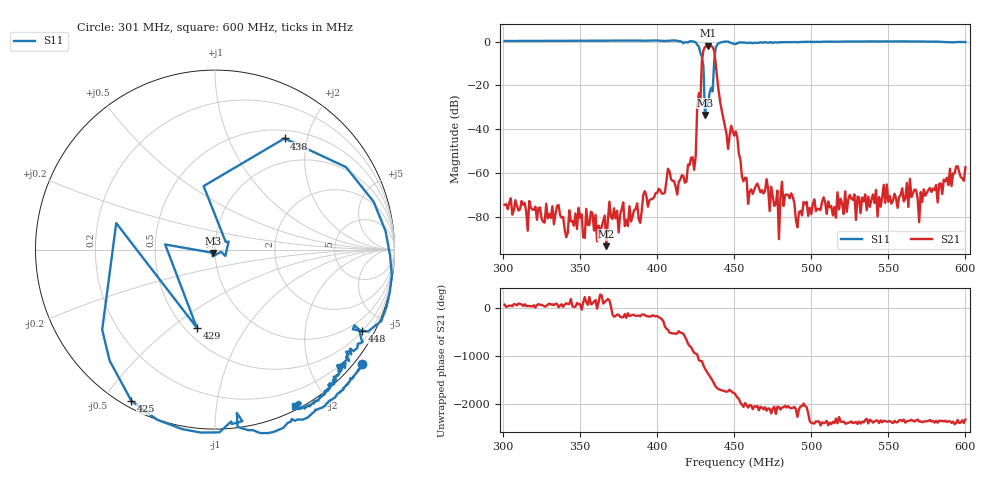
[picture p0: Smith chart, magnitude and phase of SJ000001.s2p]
!File created by NanoVNA-F V2
# Hz S RI R 50
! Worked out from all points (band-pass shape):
!   300 points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, 301 MHz to 600 MHz, reference 50 ohm
!   highest |S21| = -1.81 dB at 433 MHz (marker M1); lowest = -93.5 dB at 367 MHz (marker M2)
!   |S21| within 3 dB of the highest: 429.8 MHz to 437.1 MHz (7.278 MHz wide, 1.68 % of centre)
!   lowest |S11| = -33.5 dB at 431 MHz (marker M3), VSWR 1.04, Z = 48.9 - j1.8 ohm
!   |S11| at or under -10 dB: 429.7 MHz to 436.9 MHz (7.184 MHz wide, 1.66 % of centre)
!   S12 and S22 are empty: the file has one direction only
!   S11 on the Smith chart (normalised r, x): 301 MHz: -0.17, -2.91; 425 MHz: 0.03, -0.59; 429 MHz: 0.57, -0.62; 438 MHz: 0.61, +1.63; 448 MHz: 0.52, -3.82; 600 MHz: 0.04, -1.63
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3.01e8  0.8194 -0.6362  4.8e-05 0.000181  0 0  0 0
3.51e8  0.7245 -0.7622  9.8e-05 -5.6e-05  0 0  0 0
3.67e8  0.6792 -0.8066  -2e-05 7e-06  0 0  0 0
4.01e8  0.4664 -0.9468  -0.000434 3.3e-05  0 0  0 0
4.25e8  -0.4658 -0.8431  -0.00162 0.00179  0 0  0 0
4.26e8  -0.5869 -0.6191  -0.014 0.0301  0 0  0 0
4.28e8  -0.5503 0.1476  0.0354 -0.0128  0 0  0 0
4.29e8  -0.101 -0.4357  0.3362 -0.1281  0 0  0 0
4.31e8  -0.0106 -0.0184  -0.7617 -0.00794  0 0  0 0
4.33e8  0.0341 -0.0125  0.2062 0.7854  0 0  0 0
4.36e8  0.0598 0.0424  0.2329 -0.7191  0 0  0 0
4.38e8  0.3873 0.6196  -0.2999 0.0854  0 0  0 0
4.46e8  0.926 -0.3986  0.00133 0.00329  0 0  0 0
4.48e8  0.8207 -0.4519  0.00424 0.0111  0 0  0 0
4.51e8  0.7774 -0.4219  0.00872 -0.00184  0 0  0 0
4.59e8  0.7547 -0.5611  1.4e-05 0.000196  0 0  0 0
5.01e8  0.6395 -0.7442  -0.000105 0.000165  0 0  0 0
5.51e8  0.5489 -0.8575  -0.000286 7.2e-05  0 0  0 0
5.63e8  0.5142 -0.8679  -0.000165 2.4e-05  0 0  0 0
5.64e8  0.5135 -0.8694  -0.000726 9e-05  0 0  0 0
5.7e8  0.4999 -0.8862  -6.8e-05 3.1e-05  0 0  0 0
6e8  0.4454 -0.873  -0.00129 -0.000398  0 0  0 0
